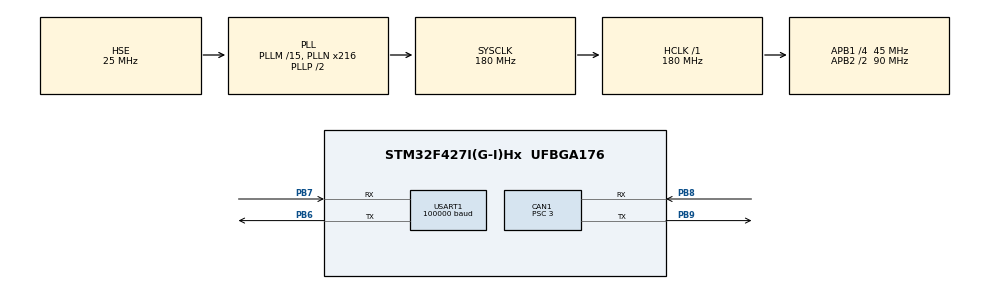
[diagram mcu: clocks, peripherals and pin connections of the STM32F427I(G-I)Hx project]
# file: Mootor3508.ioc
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CAN1.BS1=CAN_BS1_11TQ
CAN1.BS2=CAN_BS2_3TQ
CAN1.CalculateBaudRate=1000000
CAN1.CalculateTimeBit=999.99
CAN1.CalculateTimeQuantum=66.66666666666666
CAN1.Prescaler=3
Dma.Request0=USART1_RX
Dma.USART1_RX.0.Direction=DMA_PERIPH_TO_MEMORY
Dma.USART1_RX.0.FIFOMode=DMA_FIFOMODE_DISABLE
Dma.USART1_RX.0.Instance=DMA2_Stream2
Dma.USART1_RX.0.MemDataAlignment=DMA_MDATAALIGN_BYTE
Dma.USART1_RX.0.MemInc=DMA_MINC_ENABLE
Dma.USART1_RX.0.Mode=DMA_CIRCULAR
Dma.USART1_RX.0.PeriphDataAlignment=DMA_PDATAALIGN_BYTE
Dma.USART1_RX.0.PeriphInc=DMA_PINC_DISABLE
Dma.USART1_RX.0.Priority=DMA_PRIORITY_HIGH
FREERTOS.Tasks01=defaultTask,0,128,StartDefaultTask,Default,NULL,Dynamic,NULL,NULL;MotorTask,0,128,StartMotorTask,Default,NULL,Dynamic,NULL,NULL
FREERTOS.configUSE_STATS_FORMATTING_FUNCTIONS=1
FREERTOS.configUSE_TRACE_FACILITY=1
Mcu.Family=STM32F4
Mcu.Name=STM32F427I(G-I)Hx
Mcu.Package=UFBGA176
NVIC.CAN1_RX0_IRQn=true\:5\:0\:false\:false\:true\:true\:true\:true
NVIC.DMA2_Stream2_IRQn=true\:5\:0\:false\:false\:true\:true\:false\:true
NVIC.PriorityGroup=NVIC_PRIORITYGROUP_4
NVIC.TIM1_UP_TIM10_IRQn=true\:15\:0\:false\:false\:true\:false\:false\:true
NVIC.TimeBase=TIM1_UP_TIM10_IRQn
NVIC.TimeBaseIP=TIM1
NVIC.USART1_IRQn=true\:5\:0\:false\:false\:true\:true\:true\:true
PA13.Mode=Serial_Wire
PA13.Signal=SYS_JTMS-SWDIO
PA14.Mode=Serial_Wire
PA14.Signal=SYS_JTCK-SWCLK
PB6.Mode=Asynchronous
PB6.Signal=USART1_TX
PB7.Mode=Asynchronous
PB7.Signal=USART1_RX
PB8.Mode=CAN_Activate
PB8.Signal=CAN1_RX
PB9.Mode=CAN_Activate
PB9.Signal=CAN1_TX
PH0/OSC_IN.Mode=HSE-External-Oscillator
PH0/OSC_IN.Signal=RCC_OSC_IN
PH1/OSC_OUT.Mode=HSE-External-Oscillator
PH1/OSC_OUT.Signal=RCC_OSC_OUT
ProjectManager.HeapSize=0x200
ProjectManager.StackSize=0x400
ProjectManager.TargetToolchain=MDK-ARM V5.32
RCC.48MHZClocksFreq_Value=90000000
RCC.AHBFreq_Value=180000000
RCC.APB1CLKDivider=RCC_HCLK_DIV4
RCC.APB1Freq_Value=45000000
RCC.APB1TimFreq_Value=90000000
RCC.APB2CLKDivider=RCC_HCLK_DIV2
RCC.APB2Freq_Value=90000000
RCC.APB2TimFreq_Value=180000000
RCC.CortexFreq_Value=180000000
RCC.HCLKFreq_Value=180000000
RCC.HSE_VALUE=25000000
RCC.HSI_VALUE=16000000
RCC.LSE_VALUE=32768
RCC.PLLM=15
RCC.PLLN=216
RCC.PLLSourceVirtual=RCC_PLLSOURCE_HSE
RCC.SYSCLKFreq_VALUE=180000000
RCC.SYSCLKSource=RCC_SYSCLKSOURCE_PLLCLK
RCC.VCOOutputFreq_Value=360000000
USART1.BaudRate=100000
USART1.Mode=MODE_RX
USART1.Parity=PARITY_EVEN
USART1.StopBits=STOPBITS_2
USART1.VirtualMode=VM_ASYNC
VP_FREERTOS_VS_CMSIS_V1.Mode=CMSIS_V1
VP_SYS_VS_tim1.Mode=TIM1
board=custom

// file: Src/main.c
/* USER CODE END Header */
#include "main.h"
#include "cmsis_os.h"
#include "can.h"
#include "gpio.h"
#include "motor.h"
#include "pid.h"
#include "control.h"
#include "freertos.h"
#include "usart.h"
#include "dma.h"
#include "sbus.h"
/* USER CODE BEGIN Includes */
void HAL_CAN_RxFifo0MsgPendingCallback(CAN_HandleTypeDef *hcan)
{
    CAN_RxHeaderTypeDef rx_header;
    uint8_t rx_data[8];

    HAL_CAN_GetRxMessage(
        hcan,
        CAN_RX_FIFO0,
        &rx_header,
        rx_data
    );

    if(rx_header.StdId == 0x201)
    {
        Motor_Update(rx_data);
    }
}

/* USER CODE END Includes */

void SystemClock_Config(void);
void MX_FREERTOS_Init(void);

int main(void)
{

  /* MCU Configuration--------------------------------------------------------*/

  /* Reset of all peripherals, Initializes the Flash interface and the Systick. */
  HAL_Init();

  /* Configure the system clock */
  SystemClock_Config();

  /* Initialize all configured peripherals */
  MX_GPIO_Init();
  MX_DMA_Init();
  MX_USART1_UART_Init();
  MX_CAN1_Init();

  CAN_FilterTypeDef filter;

  filter.FilterBank = 0;
  filter.FilterMode = CAN_FILTERMODE_IDMASK;
  filter.FilterScale = CAN_FILTERSCALE_32BIT;

  filter.FilterIdHigh = 0x201 << 5;
  filter.FilterIdLow = 0;

  filter.FilterMaskIdHigh = 0x7FF << 5;
  filter.FilterMaskIdLow = 0;

  filter.FilterFIFOAssignment = CAN_FILTER_FIFO0;
  filter.FilterActivation = ENABLE;

  HAL_CAN_ConfigFilter(&hcan1, &filter);

  HAL_CAN_Start(&hcan1);

  HAL_CAN_ActivateNotification(
    &hcan1,
    CAN_IT_RX_FIFO0_MSG_PENDING
  );

  /* USER CODE BEGIN 2 */
  SBUS_Init();
  /* USER CODE END 2 */
  Motor_ControlInit();
  /* Call init function for freertos objects (in freertos.c) */
  MX_FREERTOS_Init();
  /* Start scheduler */
  osKernelStart();

  /* We should never get here as control is now taken by the scheduler */
  /* Infinite loop */
  while (1)
  {

  }
}

void SystemClock_Config(void)
{
  RCC_OscInitTypeDef RCC_OscInitStruct = {0};
  RCC_ClkInitTypeDef RCC_ClkInitStruct = {0};

  /** Configure the main internal regulator output voltage
  */
  __HAL_RCC_PWR_CLK_ENABLE();
  __HAL_PWR_VOLTAGESCALING_CONFIG(PWR_REGULATOR_VOLTAGE_SCALE1);
  /** Initializes the RCC Oscillators according to the specified parameters
  * in the RCC_OscInitTypeDef structure.
  */
  RCC_OscInitStruct.OscillatorType = RCC_OSCILLATORTYPE_HSE;
  RCC_OscInitStruct.HSEState = RCC_HSE_ON;
  RCC_OscInitStruct.PLL.PLLState = RCC_PLL_ON;
  RCC_OscInitStruct.PLL.PLLSource = RCC_PLLSOURCE_HSE;
  RCC_OscInitStruct.PLL.PLLM = 15;
  RCC_OscInitStruct.PLL.PLLN = 216;
  RCC_OscInitStruct.PLL.PLLP = RCC_PLLP_DIV2;
  RCC_OscInitStruct.PLL.PLLQ = 4;
  if (HAL_RCC_OscConfig(&RCC_OscInitStruct) != HAL_OK)
  {
    Error_Handler();
  }
  /** Activate the Over-Drive mode
  */
  if (HAL_PWREx_EnableOverDrive() != HAL_OK)
  {
    Error_Handler();
  }
  /** Initializes the CPU, AHB and APB buses clocks
  */
  RCC_ClkInitStruct.ClockType = RCC_CLOCKTYPE_HCLK|RCC_CLOCKTYPE_SYSCLK
                              |RCC_CLOCKTYPE_PCLK1|RCC_CLOCKTYPE_PCLK2;
  RCC_ClkInitStruct.SYSCLKSource = RCC_SYSCLKSOURCE_PLLCLK;
  RCC_ClkInitStruct.AHBCLKDivider = RCC_SYSCLK_DIV1;
  RCC_ClkInitStruct.APB1CLKDivider = RCC_HCLK_DIV4;
  RCC_ClkInitStruct.APB2CLKDivider = RCC_HCLK_DIV2;

  if (HAL_RCC_ClockConfig(&RCC_ClkInitStruct, FLASH_LATENCY_5) != HAL_OK)
  {
    Error_Handler();
  }
}

void HAL_TIM_PeriodElapsedCallback(TIM_HandleTypeDef *htim)
{
  if (htim->Instance == TIM1) {
    HAL_IncTick();
  }
}

void Error_Handler(void)
{
  __disable_irq();
  while (1)
  {
  }
}

/************************ (C) COPYRIGHT STMicroelectronics *****END OF FILE****/

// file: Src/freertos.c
/* USER CODE BEGIN Header */
/**
  ******************************************************************************
  * File Name          : freertos.c
  * Description        : FreeRTOS configuration
  ******************************************************************************
  */
/* USER CODE END Header */

#include "FreeRTOS.h"
#include "task.h"
#include "main.h"
#include "cmsis_os.h"

#include "control.h"
#include "sbus.h"

/* USER CODE BEGIN PD */

#define SBUS_SWA_CHANNEL       4//CH5

#define SBUS_LEFT_STICK        0

#define SBUS_RIGHT_STICK       2

#define SBUS_CENTER            1500

#define SWA_UP_THRESHOLD       1600//position 1

#define SWA_DOWN_THRESHOLD     1400//speed 2

#define STICK_DEAD_ZONE        30

#define MAX_ANGLE              90.0f

#define MAX_SPEED              2500.0f

/* USER CODE END PD */

/* USER CODE BEGIN Variables */

osThreadId RemoteTaskHandle;
osThreadId MotorTaskHandle;

volatile float target_angle = 0.0f;
volatile float target_speed = 0.0f;
volatile uint8_t control_mode = 0;

/* USER CODE END Variables */

void StartRemoteTask(void const * argument);
void StartMotorTask(void const * argument);

/* GetIdleTaskMemory prototype (linked to static allocation support) */
void vApplicationGetIdleTaskMemory(
    StaticTask_t **ppxIdleTaskTCBBuffer,
    StackType_t **ppxIdleTaskStackBuffer,
    uint32_t *pulIdleTaskStackSize
);

/* USER CODE BEGIN GET_IDLE_TASK_MEMORY */

static StaticTask_t xIdleTaskTCBBuffer;

static StackType_t xIdleStack[configMINIMAL_STACK_SIZE];

void vApplicationGetIdleTaskMemory(
    StaticTask_t **ppxIdleTaskTCBBuffer,
    StackType_t **ppxIdleTaskStackBuffer,
    uint32_t *pulIdleTaskStackSize
)
{
    *ppxIdleTaskTCBBuffer = &xIdleTaskTCBBuffer;

    *ppxIdleTaskStackBuffer = &xIdleStack[0];

    *pulIdleTaskStackSize = configMINIMAL_STACK_SIZE;
}

/* USER CODE END GET_IDLE_TASK_MEMORY */

void MX_FREERTOS_Init(void)
{

    /* Create the thread(s) */

    osThreadDef(
        RemoteTask,
        StartRemoteTask,
        osPriorityNormal,
        0,
        128
    );

    RemoteTaskHandle =
        osThreadCreate(
            osThread(RemoteTask),
            NULL
        );

    osThreadDef(
        MotorTask,
        StartMotorTask,
        osPriorityAboveNormal,
        0,
        128
    );

    MotorTaskHandle =
        osThreadCreate(
            osThread(MotorTask),
            NULL
        );

}

void StartRemoteTask(void const * argument)
{
    uint16_t swa_value;
    int16_t left_stick;
    int16_t right_stick;

    /* USER CODE BEGIN StartRemoteTask */

    for(;;)
    {

        swa_value = sbus_data.ch[SBUS_SWA_CHANNEL];

        left_stick =
            (int16_t)sbus_data.ch[SBUS_LEFT_STICK];

        right_stick =
            (int16_t)sbus_data.ch[SBUS_RIGHT_STICK];

        if(swa_value > SWA_UP_THRESHOLD)
        {
            control_mode = 1;

            if(
                left_stick > (SBUS_CENTER - STICK_DEAD_ZONE) &&
                left_stick < (SBUS_CENTER + STICK_DEAD_ZONE)
              )
            {

                target_angle = 0.0f;
            }
            else
            {
                target_angle =
                    (
                        (float)left_stick
                        - (float)SBUS_CENTER
                    )
                    / 500.0f
                    * MAX_ANGLE;
            }

            if(target_angle > MAX_ANGLE)
            {
                target_angle = MAX_ANGLE;
            }

            if(target_angle < -MAX_ANGLE)
            {
                target_angle = -MAX_ANGLE;
            }

            target_speed = 0.0f;
        }

        else if(swa_value < SWA_DOWN_THRESHOLD)
        {
            control_mode = 2;

            if(
                right_stick > (SBUS_CENTER - STICK_DEAD_ZONE) &&
                right_stick < (SBUS_CENTER + STICK_DEAD_ZONE)
              )
            {

                target_speed = 0.0f;
            }
            else
            {
                target_speed =
                    (
                        (float)right_stick
                        - (float)SBUS_CENTER
                    )
                    / 500.0f
                    * MAX_SPEED;
            }

            if(target_speed > MAX_SPEED)
            {
                target_speed = MAX_SPEED;
            }

            if(target_speed < -MAX_SPEED)
            {
                target_speed = -MAX_SPEED;
            }

            target_angle = 0.0f;
        }

        else
        {
            control_mode = 0;

            target_angle = 0.0f;

            target_speed = 0.0f;
        }

        osDelay(10);
    }

    /* USER CODE END StartRemoteTask */
}

void StartMotorTask(void const * argument)
{
    /* USER CODE BEGIN StartMotorTask */

    for(;;)
    {
        if(control_mode == 1)
        {

            Motor_PositionControl(target_angle);
        }

        else if(control_mode == 2)
        {

            Motor_SpeedControl(target_speed);
        }

        else
        {

            Motor_SpeedControl(0.0f);
        }

        osDelay(10);
    }

    /* USER CODE END StartMotorTask */
}
